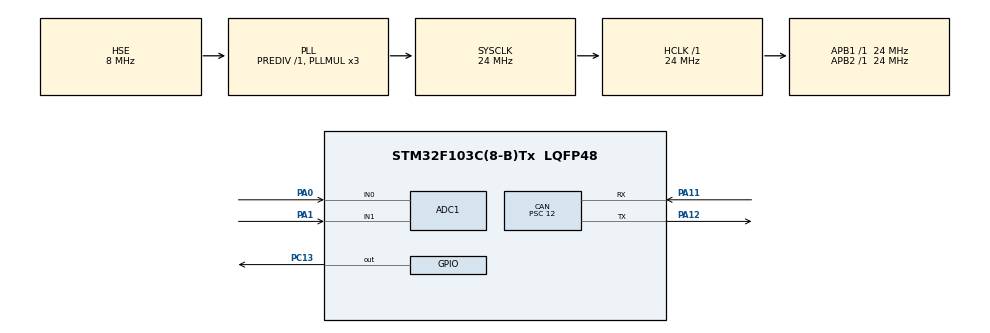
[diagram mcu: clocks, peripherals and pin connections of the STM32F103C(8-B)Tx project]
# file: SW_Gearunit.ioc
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ADC1.Channel-0\#ChannelRegularConversion=ADC_CHANNEL_0
ADC1.Channel-2\#ChannelRegularConversion=ADC_CHANNEL_0
ADC1.ContinuousConvMode=ENABLE
ADC1.DiscontinuousConvMode=DISABLE
ADC1.ExternalTrigConv=ADC_SOFTWARE_START
ADC1.NbrOfConversion=2
ADC1.NbrOfConversionFlag=1
ADC1.Rank-0\#ChannelRegularConversion=1
ADC1.Rank-2\#ChannelRegularConversion=2
ADC1.SamplingTime-0\#ChannelRegularConversion=ADC_SAMPLETIME_239CYCLES_5
ADC1.SamplingTime-2\#ChannelRegularConversion=ADC_SAMPLETIME_239CYCLES_5
ADC1.master=1
CAN.BS1=CAN_BS1_13TQ
CAN.BS2=CAN_BS2_2TQ
CAN.CalculateBaudRate=125000
CAN.CalculateTimeBit=8000
CAN.CalculateTimeQuantum=500.0
CAN.NART=ENABLE
CAN.Prescaler=12
Dma.ADC1.0.Direction=DMA_PERIPH_TO_MEMORY
Dma.ADC1.0.Instance=DMA1_Channel1
Dma.ADC1.0.MemDataAlignment=DMA_MDATAALIGN_HALFWORD
Dma.ADC1.0.MemInc=DMA_MINC_ENABLE
Dma.ADC1.0.Mode=DMA_CIRCULAR
Dma.ADC1.0.PeriphDataAlignment=DMA_PDATAALIGN_HALFWORD
Dma.ADC1.0.PeriphInc=DMA_PINC_DISABLE
Dma.ADC1.0.Priority=DMA_PRIORITY_LOW
Dma.Request0=ADC1
Mcu.Family=STM32F1
Mcu.Name=STM32F103C(8-B)Tx
Mcu.Package=LQFP48
NVIC.CAN1_RX1_IRQn=true\:0\:0\:false\:false\:true\:true\:true\:true
NVIC.CAN1_SCE_IRQn=true\:0\:0\:false\:false\:true\:true\:true\:true
NVIC.DMA1_Channel1_IRQn=true\:0\:0\:false\:false\:true\:false\:true\:true
NVIC.PriorityGroup=NVIC_PRIORITYGROUP_4
NVIC.TIM4_IRQn=true\:0\:0\:false\:false\:true\:true\:true\:true
NVIC.USB_HP_CAN1_TX_IRQn=true\:0\:0\:false\:false\:true\:true\:true\:true
NVIC.USB_LP_CAN1_RX0_IRQn=true\:0\:0\:false\:false\:true\:true\:true\:true
PA0-WKUP.Signal=ADCx_IN0
PA1.Signal=ADCx_IN1
PA11.Mode=CAN_Activate
PA11.Signal=CAN_RX
PA12.Mode=CAN_Activate
PA12.Signal=CAN_TX
PA13.Mode=Serial_Wire
PA13.Signal=SYS_JTMS-SWDIO
PA14.Mode=Serial_Wire
PA14.Signal=SYS_JTCK-SWCLK
PC13-TAMPER-RTC.Signal=GPIO_Output
PC14-OSC32_IN.Mode=LSE-External-Oscillator
PC14-OSC32_IN.Signal=RCC_OSC32_IN
PC15-OSC32_OUT.Mode=LSE-External-Oscillator
PC15-OSC32_OUT.Signal=RCC_OSC32_OUT
PD0-OSC_IN.Mode=HSE-External-Oscillator
PD0-OSC_IN.Signal=RCC_OSC_IN
PD1-OSC_OUT.Mode=HSE-External-Oscillator
PD1-OSC_OUT.Signal=RCC_OSC_OUT
ProjectManager.HeapSize=0x200
ProjectManager.StackSize=0x400
ProjectManager.TargetToolchain=Makefile
RCC.AHBFreq_Value=24000000
RCC.APB1Freq_Value=24000000
RCC.APB1TimFreq_Value=24000000
RCC.APB2Freq_Value=24000000
RCC.APB2TimFreq_Value=24000000
RCC.HCLKFreq_Value=24000000
RCC.PLLMUL=RCC_PLL_MUL3
RCC.PLLSourceVirtual=RCC_PLLSOURCE_HSE
RCC.RTCClockSelection=RCC_RTCCLKSOURCE_LSE
RCC.SYSCLKFreq_VALUE=24000000
RCC.SYSCLKSource=RCC_SYSCLKSOURCE_PLLCLK
RCC.USBFreq_Value=24000000
SH.ADCx_IN0.0=ADC1_IN0,IN0
SH.ADCx_IN1.0=ADC1_IN1,IN1
TIM4.Channel-Output\ Compare4\ No\ Output=TIM_CHANNEL_4
TIM4.Period=1000
TIM4.Prescaler=23
TIM4.Pulse-Output\ Compare4\ No\ Output=500
VP_TIM4_VS_ClockSourceINT.Mode=Internal
VP_TIM4_VS_no_output4.Mode=Output Compare4 No Output
board=custom

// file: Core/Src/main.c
/* USER CODE BEGIN Header */
/**
  ******************************************************************************
  * @file           : main.c
  * @brief          : Main program body
  ******************************************************************************
  * @attention
  *
  * Copyright (c) 2026 STMicroelectronics.
  * All rights reserved.
  *
  * This software is licensed under terms that can be found in the LICENSE file
  * in the root directory of this software component.
  * If no LICENSE file comes with this software, it is provided AS-IS.
  *
  ******************************************************************************
  */
/* USER CODE END Header */
#include "main.h"

/* USER CODE BEGIN Includes */
#include "CO_app_STM32.h"
#include "OD.h"
/* USER CODE END Includes */

/* USER CODE BEGIN PD */
#define CAN_TIMEOUT_VALUE 1000U
/* USER CODE END PD */

ADC_HandleTypeDef hadc1;
DMA_HandleTypeDef hdma_adc1;

CAN_HandleTypeDef hcan;

TIM_HandleTypeDef htim4;

void SystemClock_Config(void);
static void MX_GPIO_Init(void);
static void MX_DMA_Init(void);
static void MX_CAN_Init(void);
static void MX_TIM4_Init(void);
static void MX_ADC1_Init(void);

/* USER CODE BEGIN 0 */
void HAL_TIM_PeriodElapsedCallback(TIM_HandleTypeDef* htim) {
    if (htim == canopenNodeSTM32->timerHandle)
    {
        canopen_app_interrupt();
    }
}
/* USER CODE END 0 */

int main(void)
{

  /* USER CODE BEGIN 1 */
  uint16_t AnalogueInput8_buffer[2] = {0,0};
  uint16_t AnalogueInput8[2] = {0,0};
  uint16_t AnalogueInput8_last[2] = {0,0};

  /* USER CODE END 1 */

  /* MCU Configuration--------------------------------------------------------*/

  /* Reset of all peripherals, Initializes the Flash interface and the Systick. */
  HAL_Init();

  /* Configure the system clock */
  SystemClock_Config();

  /* USER CODE BEGIN SysInit */
  SET_BIT(RCC->APB1ENR, RCC_APB1ENR_CAN1EN);
  CLEAR_BIT(CAN1->MCR, CAN_MCR_SLEEP); //CH32F103C8T6 needs to exit sleep first, it can be configured only after exiting sleep (Normal STM does not need this)
  //HAL_Delay(100);
  /* USER CODE END SysInit */

  /* Initialize all configured peripherals */
  MX_GPIO_Init();
  MX_DMA_Init();
  MX_CAN_Init();
  MX_TIM4_Init();
  MX_ADC1_Init();
  /* USER CODE BEGIN 2 */
  CANopenNodeSTM32 canOpenNodeSTM32;
  canOpenNodeSTM32.CANHandle = &hcan;
  canOpenNodeSTM32.HWInitFunction = MX_CAN_Init;
  canOpenNodeSTM32.timerHandle = &htim4;
  canOpenNodeSTM32.desiredNodeID = 4;
  canOpenNodeSTM32.baudrate = 125;
  canopen_app_init(&canOpenNodeSTM32);
  HAL_ADCEx_Calibration_Start(&hadc1);
  HAL_ADC_Start_DMA(&hadc1,(uint32_t*)&AnalogueInput8_buffer, 4);
  /* USER CODE END 2 */

  /* Infinite loop */
  /* USER CODE BEGIN WHILE */
  while (1)
  {
    canopen_app_process();

    AnalogueInput8[1] = AnalogueInput8_buffer[1]>>4;
    AnalogueInput8[2] = AnalogueInput8_buffer[2]>>4;

    if((AnalogueInput8[1] != AnalogueInput8_last[1]) || (AnalogueInput8[2] != AnalogueInput8_last[2]))
    {
      if(AnalogueInput8[1] != AnalogueInput8_last[1])
      {
        AnalogueInput8_last[1] = AnalogueInput8[1];
        OD_set_u8(OD_find(OD,0x6400), 0x01, AnalogueInput8_last[1], false);
      }
      if(AnalogueInput8[2] != AnalogueInput8_last[2])
      {
        AnalogueInput8_last[2] = AnalogueInput8[2];
        OD_set_u8(OD_find(OD,0x6400), 0x02, AnalogueInput8_last[2], false);
      }
      CO_TPDOsendRequest(&canOpenNodeSTM32.canOpenStack->TPDO[0]);
    }
    HAL_Delay(10);

    //HAL_GPIO_TogglePin(GPIOC, GPIO_PIN_13);
    /* USER CODE END WHILE */

  }
}

void SystemClock_Config(void)
{
  RCC_OscInitTypeDef RCC_OscInitStruct = {0};
  RCC_ClkInitTypeDef RCC_ClkInitStruct = {0};
  RCC_PeriphCLKInitTypeDef PeriphClkInit = {0};

  /** Initializes the RCC Oscillators according to the specified parameters
  * in the RCC_OscInitTypeDef structure.
  */
  RCC_OscInitStruct.OscillatorType = RCC_OSCILLATORTYPE_HSE;
  RCC_OscInitStruct.HSEState = RCC_HSE_ON;
  RCC_OscInitStruct.HSEPredivValue = RCC_HSE_PREDIV_DIV1;
  RCC_OscInitStruct.HSIState = RCC_HSI_ON;
  RCC_OscInitStruct.PLL.PLLState = RCC_PLL_ON;
  RCC_OscInitStruct.PLL.PLLSource = RCC_PLLSOURCE_HSE;
  RCC_OscInitStruct.PLL.PLLMUL = RCC_PLL_MUL3;
  if (HAL_RCC_OscConfig(&RCC_OscInitStruct) != HAL_OK)
  {
    Error_Handler();
  }

  /** Initializes the CPU, AHB and APB buses clocks
  */
  RCC_ClkInitStruct.ClockType = RCC_CLOCKTYPE_HCLK|RCC_CLOCKTYPE_SYSCLK
                              |RCC_CLOCKTYPE_PCLK1|RCC_CLOCKTYPE_PCLK2;
  RCC_ClkInitStruct.SYSCLKSource = RCC_SYSCLKSOURCE_PLLCLK;
  RCC_ClkInitStruct.AHBCLKDivider = RCC_SYSCLK_DIV1;
  RCC_ClkInitStruct.APB1CLKDivider = RCC_HCLK_DIV1;
  RCC_ClkInitStruct.APB2CLKDivider = RCC_HCLK_DIV1;

  if (HAL_RCC_ClockConfig(&RCC_ClkInitStruct, FLASH_LATENCY_0) != HAL_OK)
  {
    Error_Handler();
  }
  PeriphClkInit.PeriphClockSelection = RCC_PERIPHCLK_ADC;
  PeriphClkInit.AdcClockSelection = RCC_ADCPCLK2_DIV2;
  if (HAL_RCCEx_PeriphCLKConfig(&PeriphClkInit) != HAL_OK)
  {
    Error_Handler();
  }
}

static void MX_ADC1_Init(void)
{

  ADC_ChannelConfTypeDef sConfig = {0};

  /** Common config
  */
  hadc1.Instance = ADC1;
  hadc1.Init.ScanConvMode = ADC_SCAN_ENABLE;
  hadc1.Init.ContinuousConvMode = ENABLE;
  hadc1.Init.DiscontinuousConvMode = DISABLE;
  hadc1.Init.ExternalTrigConv = ADC_SOFTWARE_START;
  hadc1.Init.DataAlign = ADC_DATAALIGN_RIGHT;
  hadc1.Init.NbrOfConversion = 2;
  if (HAL_ADC_Init(&hadc1) != HAL_OK)
  {
    Error_Handler();
  }

  /** Configure Regular Channel
  */
  sConfig.Channel = ADC_CHANNEL_0;
  sConfig.Rank = ADC_REGULAR_RANK_1;
  sConfig.SamplingTime = ADC_SAMPLETIME_239CYCLES_5;
  if (HAL_ADC_ConfigChannel(&hadc1, &sConfig) != HAL_OK)
  {
    Error_Handler();
  }

  /** Configure Regular Channel
  */
  sConfig.Rank = ADC_REGULAR_RANK_2;
  if (HAL_ADC_ConfigChannel(&hadc1, &sConfig) != HAL_OK)
  {
    Error_Handler();
  }

}

static void MX_CAN_Init(void)
{

  hcan.Instance = CAN1;
  hcan.Init.Prescaler = 12;
  hcan.Init.Mode = CAN_MODE_NORMAL;
  hcan.Init.SyncJumpWidth = CAN_SJW_1TQ;
  hcan.Init.TimeSeg1 = CAN_BS1_13TQ;
  hcan.Init.TimeSeg2 = CAN_BS2_2TQ;
  hcan.Init.TimeTriggeredMode = DISABLE;
  hcan.Init.AutoBusOff = DISABLE;
  hcan.Init.AutoWakeUp = DISABLE;
  hcan.Init.AutoRetransmission = ENABLE;
  hcan.Init.ReceiveFifoLocked = DISABLE;
  hcan.Init.TransmitFifoPriority = DISABLE;
  if (HAL_CAN_Init(&hcan) != HAL_OK)
  {
    Error_Handler();
  }

}

static void MX_TIM4_Init(void)
{

  TIM_ClockConfigTypeDef sClockSourceConfig = {0};
  TIM_MasterConfigTypeDef sMasterConfig = {0};
  TIM_OC_InitTypeDef sConfigOC = {0};

  htim4.Instance = TIM4;
  htim4.Init.Prescaler = 23;
  htim4.Init.CounterMode = TIM_COUNTERMODE_UP;
  htim4.Init.Period = 1000;
  htim4.Init.ClockDivision = TIM_CLOCKDIVISION_DIV1;
  htim4.Init.AutoReloadPreload = TIM_AUTORELOAD_PRELOAD_DISABLE;
  if (HAL_TIM_Base_Init(&htim4) != HAL_OK)
  {
    Error_Handler();
  }
  sClockSourceConfig.ClockSource = TIM_CLOCKSOURCE_INTERNAL;
  if (HAL_TIM_ConfigClockSource(&htim4, &sClockSourceConfig) != HAL_OK)
  {
    Error_Handler();
  }
  if (HAL_TIM_OC_Init(&htim4) != HAL_OK)
  {
    Error_Handler();
  }
  sMasterConfig.MasterOutputTrigger = TIM_TRGO_RESET;
  sMasterConfig.MasterSlaveMode = TIM_MASTERSLAVEMODE_DISABLE;
  if (HAL_TIMEx_MasterConfigSynchronization(&htim4, &sMasterConfig) != HAL_OK)
  {
    Error_Handler();
  }
  sConfigOC.OCMode = TIM_OCMODE_TIMING;
  sConfigOC.Pulse = 500;
  sConfigOC.OCPolarity = TIM_OCPOLARITY_HIGH;
  sConfigOC.OCFastMode = TIM_OCFAST_DISABLE;
  if (HAL_TIM_OC_ConfigChannel(&htim4, &sConfigOC, TIM_CHANNEL_4) != HAL_OK)
  {
    Error_Handler();
  }

}

static void MX_DMA_Init(void)
{

  /* DMA controller clock enable */
  __HAL_RCC_DMA1_CLK_ENABLE();

  /* DMA interrupt init */
  /* DMA1_Channel1_IRQn interrupt configuration */
  HAL_NVIC_SetPriority(DMA1_Channel1_IRQn, 0, 0);
  HAL_NVIC_EnableIRQ(DMA1_Channel1_IRQn);

}

static void MX_GPIO_Init(void)
{
  GPIO_InitTypeDef GPIO_InitStruct = {0};

  /* GPIO Ports Clock Enable */
  __HAL_RCC_GPIOC_CLK_ENABLE();
  __HAL_RCC_GPIOD_CLK_ENABLE();
  __HAL_RCC_GPIOA_CLK_ENABLE();

  /*Configure GPIO pin Output Level */
  HAL_GPIO_WritePin(GPIOC, GPIO_PIN_13, GPIO_PIN_RESET);

  /*Configure GPIO pin : PC13 */
  GPIO_InitStruct.Pin = GPIO_PIN_13;
  GPIO_InitStruct.Mode = GPIO_MODE_OUTPUT_PP;
  GPIO_InitStruct.Pull = GPIO_NOPULL;
  GPIO_InitStruct.Speed = GPIO_SPEED_FREQ_LOW;
  HAL_GPIO_Init(GPIOC, &GPIO_InitStruct);

}

void Error_Handler(void)
{
  /* USER CODE BEGIN Error_Handler_Debug */
  /* User can add his own implementation to report the HAL error return state */
  __disable_irq();
  while (1)
  {
    HAL_Delay(1000);

    HAL_GPIO_TogglePin(GPIOC, GPIO_PIN_13);
  }
  /* USER CODE END Error_Handler_Debug */
}
